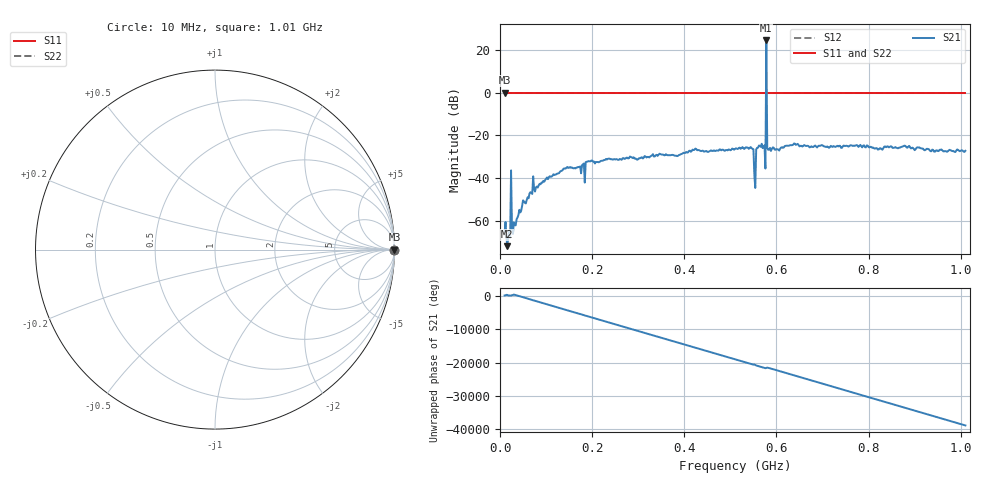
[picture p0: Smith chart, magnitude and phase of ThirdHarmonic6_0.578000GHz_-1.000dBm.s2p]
! 8/15/2025 6:39:11 PM
! C:\ANRITSUVNA\TEMP\TEMP.S2P
! CHANNEL.1
! TR.MEASUREMENT
! RAW.DATA
! RF.CORRECTION.OFF
! AVERAGING.OFF
! IF.BANDWIDTH: 5KHZ
! SWEEPTYPE:  FREQ.SWEEP(Linear)
! Reference Plane Port Info
! PORT:  PORT1  PORT2
! DISTANCE:  0  m  0  m
! TIME:  0  s  0  s
! PHASE.OFFSET:  0  deg.  0  deg.
! LOSS:  0  dB  0  dB
! REF.LOSS:  0  dB  0  dB
! REF.FREQ:  0  Hz  0  Hz
! Power Info
! POWER:  -20  dBm  -20  dBm
! EFF.POWER:  -20  dBm  -20  dBm
! SOURCE.ATTEN:  0  dB  0  dB
! TEST.ATTEN:  0  dB  0  dB
# GHZ S RI R 50.0
! FREQ.GHZ  S11RE  S11IM  S21RE  S21IM  S12RE  S12IM  S22RE  S22IM
!; PortSelection: Port_12
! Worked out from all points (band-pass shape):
!   501 points, 10 MHz to 1.01 GHz, reference 50 ohm
!   highest |S21| = 24.37 dB at 578 MHz (marker M1); lowest = -71.8 dB at 16 MHz (marker M2)
!   |S21| within 3 dB of the highest: 577.8998 MHz to 578.1195 MHz (219.7 kHz wide, 0.038 % of centre)
!   lowest |S11| = 0.0 dB at 10 MHz (marker M3)
!   |S11| at or under -10 dB: nowhere
!   |S22| runs from 0.0 to 0.0 dB; largest |S21 - S12| = 16
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0.01  1 0  -0.00044 0.000307  1 0  1 0
0.016  1 0  0.000171 -0.00019  1 0  1 0
0.018  1 0  -0.000406 0.000142  1 0  1 0
0.022  1 0  -0.00024 0.000325  1 0  1 0
0.028  1 0  0.000187 -0.000457  1 0  1 0
0.03  1 0  0.000315 0.000862  1 0  1 0
0.076  1 0  0.00482 -0.00032  1 0  1 0
0.178  1 0  -0.0199 -0.00012  1 0  1 0
0.344  1 0  0.0271 -0.0223  1 0  1 0
0.51  1 0  -0.0186 0.0439  1 0  1 0
0.546  1 0  -0.0034 0.0498  1 0  1 0
0.552  1 0  0.0105 -0.005  1 0  1 0
0.556  1 0  0.0269 0.0384  1 0  1 0
0.56  1 0  -0.0115 -0.0501  1 0  1 0
0.572  1 0  -0.0321 0.0447  1 0  1 0
0.574  1 0  0.0394 0.0429  1 0  1 0
0.578  1 0  7.859 14.54  1 0  1 0
0.582  1 0  0.0119 0.0444  1 0  1 0
0.584  1 0  0.0461 0.00198  1 0  1 0
0.678  1 0  -0.0517 0.0135  1 0  1 0
0.844  1 0  0.0283 -0.0439  1 0  1 0
1.01  1 0  0.00923 0.0425  1 0  1 0
